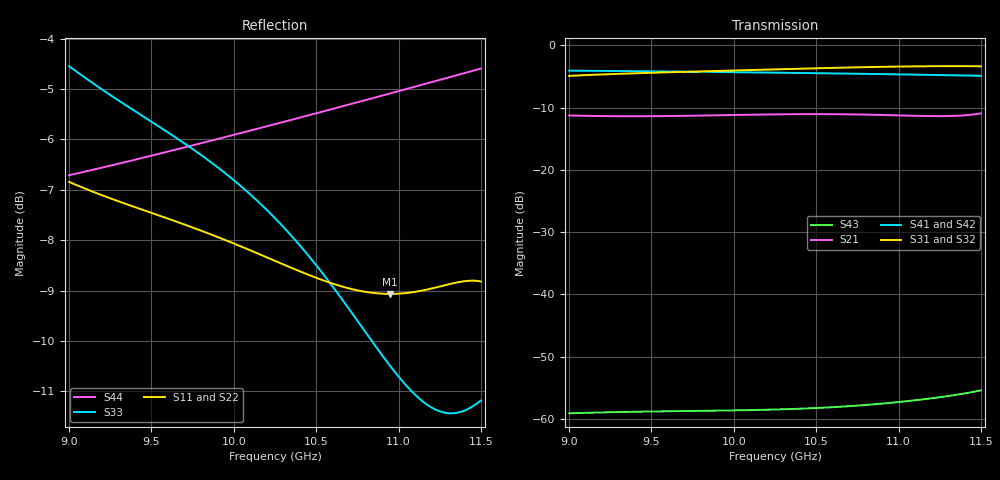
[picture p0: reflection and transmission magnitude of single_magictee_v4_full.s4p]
! Generated from PyAEDT SolutionData; AEDT ExportNetworkData workaround
# GHz S MA R 50
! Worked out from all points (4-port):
!   101 points, 9 GHz to 11.5 GHz, reference 50 ohm
!   strongest paths, dB at 9 GHz, 9.625 GHz, 10.25 GHz, 10.88 GHz, 11.5 GHz:
!     S31: -4.9, -4.3, -3.8, -3.4, -3.3
!     S32: -4.9, -4.3, -3.8, -3.5, -3.4
!     S41: -4.0, -4.2, -4.4, -4.6, -4.9
!     S42: -4.1, -4.2, -4.4, -4.6, -4.8
!     S21: -11.2, -11.3, -11.1, -11.2, -10.9
!     S43: -59.1, -58.8, -58.5, -57.6, -55.4
!   lowest |S11| = -9.1 dB at 10.95 GHz (marker M1), VSWR 2.09, Z = 24.1 + j3.8 ohm
!   |S11| at or under -10 dB: nowhere
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9  0.4549 17.2  0.274 -56.9  0.5694 -9.8  0.6276 43.6
   0.274 -56.9  0.4555 17.0  0.5697 -9.7  0.6268 -136.3
   0.5694 -9.8  0.5697 -9.7  0.5926 169.7  0.00111 94.4
   0.6276 43.6  0.6268 -136.3  0.00111 94.4  0.4619 -144.5
9.375  0.4308 -27.4  0.27 -109.9  0.5959 -77.0  0.6216 1.4
       0.27 -109.9  0.4313 -27.6  0.5962 -77.0  0.621 -178.5
       0.5959 -77.0  0.5962 -77.0  0.538 83.3  0.00114 30.0
       0.6216 1.4  0.621 -178.5  0.00114 30.0  0.4774 176.3
9.7  0.4126 -64.5  0.2721 -154.1  0.6136 -133.2  0.6158 -34.0
     0.2721 -154.1  0.4131 -64.7  0.6138 -133.1  0.6153 146.1
     0.6136 -133.2  0.6138 -133.1  0.4967 11.6  0.001157 -23.4
     0.6158 -34.0  0.6153 146.1  0.001157 -23.4  0.4921 143.2
10  0.3951 -97.6  0.2762 166.0  0.6291 176.2  0.6098 -66.0
    0.2762 166.0  0.3954 -97.8  0.6291 176.3  0.6095 114.1
    0.6291 176.2  0.6291 176.3  0.4566 -52.8  0.001172 -70.6
    0.6098 -66.0  0.6095 114.1  0.001172 -70.6  0.5065 113.0
10.5  0.3653 -149.1  0.2807 100.6  0.6553 93.0  0.5986 -118.1
      0.2807 100.6  0.3653 -149.3  0.6552 93.1  0.5987 62.0
      0.6553 93.0  0.6552 93.1  0.376 -160.3  0.001224 -145.0
      0.5986 -118.1  0.5987 62.0  0.001224 -145.0  0.5321 63.5
10.95  0.3521 168.7  0.2753 43.9  0.675 17.5  0.587 -164.1
       0.2753 43.9  0.3516 168.6  0.6747 17.6  0.5877 16.1
       0.675 17.5  0.6747 17.6  0.2985 95.7  0.001347 151.7
       0.587 -164.1  0.5877 16.1  0.001347 151.7  0.5569 19.4
11.5  0.3623 114.0  0.2846 -17.2  0.6801 -80.0  0.5702 140.5
      0.2846 -17.2  0.3608 114.0  0.6792 -79.8  0.5723 -39.4
      0.6801 -80.0  0.6792 -79.8  0.2759 -42.9  0.001697 79.4
      0.5702 140.5  0.5723 -39.4  0.001697 79.4  0.5894 -34.2
